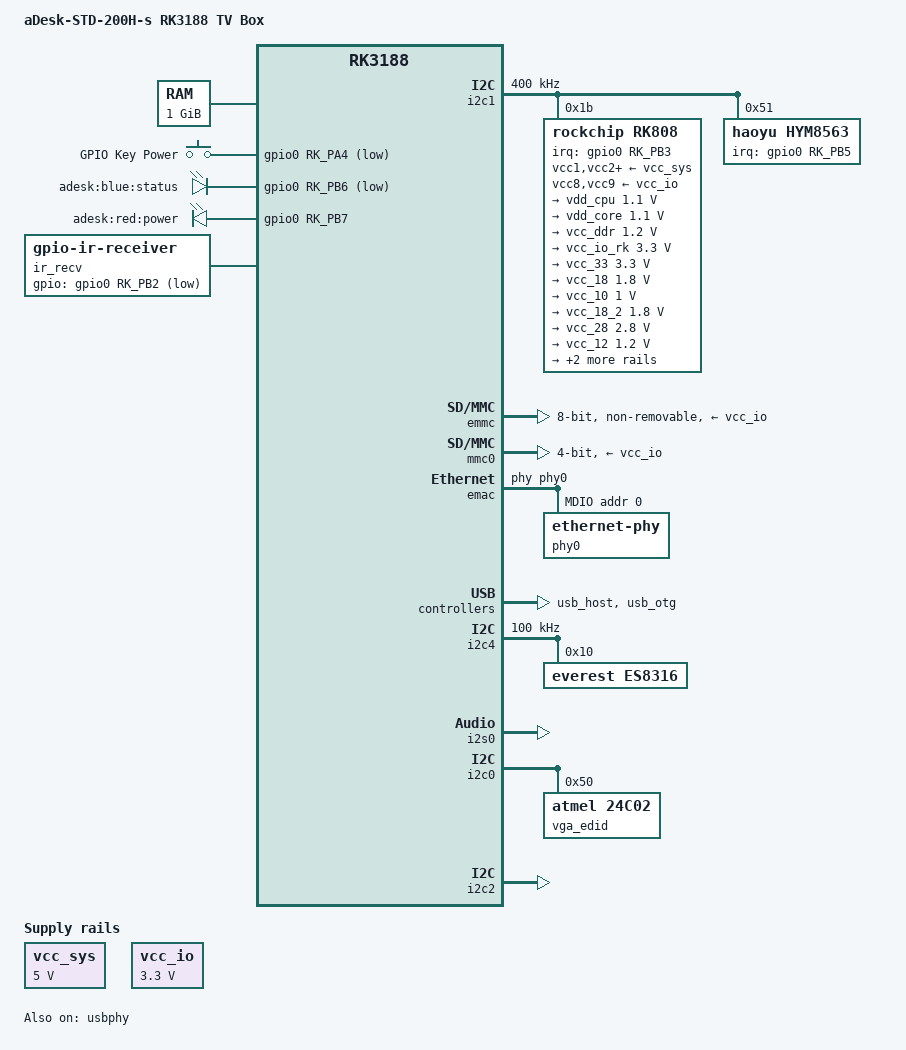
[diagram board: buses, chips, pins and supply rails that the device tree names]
// SPDX-License-Identifier: (GPL-2.0+ OR MIT)
/dts-v1/;

#include <dt-bindings/gpio/gpio.h>
#include <dt-bindings/input/input.h>
#include <dt-bindings/interrupt-controller/irq.h>
#include <dt-bindings/pinctrl/rockchip.h>
#include "rk3188.dtsi"

/ {
	model = "aDesk-STD-200H-s RK3188 TV Box";
	compatible = "rockchip,rk3188";

	aliases {
		serial0 = &uart0;
		mmc0 = &mmc0;   /* SD 卡控制器 */
		mmc1 = &emmc;   /* eMMC 控制器 */
	};

	chosen {
		stdout-path = "serial0:115200n8";
		bootargs = "console=ttyS0,115200 earlyprintk loglevel=8";
	};

	memory@60000000 {
		device_type = "memory";
		reg = <0x60000000 0x40000000>; /* 1GB DDR3 */
	};

	reserved-memory {
		#address-cells = <1>;
		#size-cells = <1>;
		ranges;
		ion1: ion@88400000 { reg = <0x88400000 0x06400000>; no-map; };
		ion2: ion@7ee00000 { reg = <0x7ee00000 0x09600000>; no-map; };
		fb: framebuffer@7a600000 { reg = <0x7a600000 0x04800000>; no-map; };
	};

	vcc_sys: vsys-regulator {
		compatible = "regulator-fixed";
		regulator-name = "vsys";
		regulator-min-microvolt = <5000000>;
		regulator-max-microvolt = <5000000>;
		regulator-boot-on;
	};

	vcc_io: vcc-io-regulator {
		compatible = "regulator-fixed";
		regulator-name = "vcc_io";
		regulator-min-microvolt = <3300000>;
		regulator-max-microvolt = <3300000>;
		regulator-always-on;
	};

	gpio-keys {
		compatible = "gpio-keys";
		autorepeat;
		key-power {
			gpios = <&gpio0 RK_PA4 GPIO_ACTIVE_LOW>;
			linux,code = <KEY_POWER>;
			label = "GPIO Key Power";
			linux,input-type = <1>;
			wakeup-source;
			debounce-interval = <100>;
		};
	};

	gpio-leds {
		compatible = "gpio-leds";
		led-blue {
			label = "adesk:blue:status";
			gpios = <&gpio0 RK_PB6 GPIO_ACTIVE_LOW>;
			default-state = "off";
		};
		led-red {
			label = "adesk:red:power";
			gpios = <&gpio0 RK_PB7 GPIO_ACTIVE_HIGH>;
			default-state = "off";
		};
	};

	ir_recv: ir-receiver {
		compatible = "gpio-ir-receiver";
		gpios = <&gpio0 RK_PB2 GPIO_ACTIVE_LOW>;
		pinctrl-names = "default";
		pinctrl-0 = <&ir_recv_pin>;
	};

	sound {
		compatible = "simple-audio-card";
		simple-audio-card,name = "RK_ES8316";
		simple-audio-card,format = "i2s";
		simple-audio-card,mclk-fs = <256>;
		simple-audio-card,cpu { sound-dai = <&i2s0>; };
		simple-audio-card,codec { sound-dai = <&es8316>; };
	};
};

&cpu0 { cpu-supply = <&vdd_cpu>; };
&cpu1 { cpu-supply = <&vdd_cpu>; };
&cpu2 { cpu-supply = <&vdd_cpu>; };
&cpu3 { cpu-supply = <&vdd_cpu>; };

&i2c1 {
	status = "okay";
	clock-frequency = <400000>;

	rk808: pmic@1b {
		compatible = "rockchip,rk808";
		reg = <0x1b>;
		interrupt-parent = <&gpio0>;
		interrupts = <RK_PB3 IRQ_TYPE_LEVEL_LOW>;
		pinctrl-names = "default";
		pinctrl-0 = <&pmic_int>;
		rockchip,system-power-controller;
		wakeup-source;
		#clock-cells = <1>;
		clock-output-names = "rk808-clkout1", "rk808-clkout2";

		vcc1-supply = <&vcc_sys>;
		vcc2-supply = <&vcc_sys>;
		vcc3-supply = <&vcc_sys>;
		vcc4-supply = <&vcc_sys>;
		vcc6-supply = <&vcc_sys>;
		vcc7-supply = <&vcc_sys>;
		vcc8-supply = <&vcc_io>;
		vcc9-supply = <&vcc_io>;

		regulators {
			vdd_cpu: DCDC_REG1 { regulator-always-on; regulator-boot-on; regulator-min-microvolt = <1100000>; regulator-max-microvolt = <1100000>; regulator-name = "vdd_arm"; };
			vdd_core: DCDC_REG2 { regulator-always-on; regulator-boot-on; regulator-min-microvolt = <1100000>; regulator-max-microvolt = <1100000>; regulator-name = "vdd_core"; };
			vcc_ddr: DCDC_REG3 { regulator-always-on; regulator-boot-on; regulator-min-microvolt = <1200000>; regulator-max-microvolt = <1200000>; regulator-name = "vcc_ddr"; };
			vcc_io_rk: DCDC_REG4 { regulator-always-on; regulator-boot-on; regulator-min-microvolt = <3300000>; regulator-max-microvolt = <3300000>; regulator-name = "vcc_io"; };
			vcc_33: LDO_REG1 { regulator-always-on; regulator-boot-on; regulator-min-microvolt = <3300000>; regulator-max-microvolt = <3300000>; regulator-name = "vcc_33"; };
			vcc_18: LDO_REG2 { regulator-always-on; regulator-boot-on; regulator-min-microvolt = <1800000>; regulator-max-microvolt = <1800000>; regulator-name = "vcc_18"; };
			vcc_10: LDO_REG3 { regulator-always-on; regulator-boot-on; regulator-min-microvolt = <1000000>; regulator-max-microvolt = <1000000>; regulator-name = "vcc_10"; };
			vcc_18_2: LDO_REG4 { regulator-always-on; regulator-boot-on; regulator-min-microvolt = <1800000>; regulator-max-microvolt = <1800000>; regulator-name = "vcc_18_2"; };
			vcc_28: LDO_REG5 { regulator-always-on; regulator-boot-on; regulator-min-microvolt = <2800000>; regulator-max-microvolt = <2800000>; regulator-name = "vcc_28"; };
			vcc_12: LDO_REG6 { regulator-always-on; regulator-boot-on; regulator-min-microvolt = <1200000>; regulator-max-microvolt = <1200000>; regulator-name = "vcc_12"; };
			vcc_18_3: LDO_REG7 { regulator-always-on; regulator-boot-on; regulator-min-microvolt = <1800000>; regulator-max-microvolt = <1800000>; regulator-name = "vcc_18_3"; };
			vcc_33_2: LDO_REG8 { regulator-always-on; regulator-boot-on; regulator-min-microvolt = <3300000>; regulator-max-microvolt = <3300000>; regulator-name = "vcc_33_2"; };
		};
	};

	hym8563: rtc@51 {
		compatible = "haoyu,hym8563";
		reg = <0x51>;
		interrupt-parent = <&gpio0>;
		interrupts = <RK_PB5 IRQ_TYPE_EDGE_FALLING>;
		pinctrl-names = "default";
		pinctrl-0 = <&rtc_int>;
		#clock-cells = <0>;
		clock-output-names = "xin32k";
		wakeup-source;
	};
};

/* eMMC 控制器 */
&emmc {
	bus-width = <8>;
	cap-mmc-highspeed;
	non-removable;
	pinctrl-names = "default";
	pinctrl-0 = <&emmc_clk>, <&emmc_cmd>, <&emmc_rst>;
	vmmc-supply = <&vcc_io>;
	status = "okay";
};

/* SD 卡槽控制器 (已由 &sdmmc 修正为 &mmc0) */
&mmc0 {
	bus-width = <4>;
	cap-mmc-highspeed;
	cap-sd-highspeed;
	disable-wp;
	pinctrl-names = "default";
	pinctrl-0 = <&sd0_clk>, <&sd0_cmd>, <&sd0_cd>, <&sd0_bus4>;
	vmmc-supply = <&vcc_io>;
	status = "okay";
};

&emac {
	phy-handle = <&phy0>;
	pinctrl-names = "default";
	pinctrl-0 = <&emac_xfer>, <&emac_mdio>;
	status = "okay";

	mdio {
		#address-cells = <1>;
		#size-cells = <0>;
		phy0: ethernet-phy@0 { reg = <0>; };
	};
};

&usbphy { status = "okay"; };
&usb_host { status = "okay"; };
&usb_otg { status = "okay"; };

&i2c4 {
	status = "okay";
	clock-frequency = <100000>;
	es8316: codec@10 {
		compatible = "everest,es8316";
		reg = <0x10>;
		clocks = <&cru SCLK_I2S0>;
		clock-names = "mclk";
		#sound-dai-cells = <0>;
	};
};

&i2s0 { status = "okay"; };

&i2c0 {
	status = "okay";
	vga_edid: eeprom@50 { compatible = "atmel,24c02"; reg = <0x50>; pagesize = <16>; };
};

&i2c2 {
	status = "okay";
	hdmi_tx: hdmi@2b { compatible = "vendor,ms7210"; reg = <0x2b>; status = "disabled"; };
	it66121: hdmi-tx@4c { compatible = "ite,it66121"; reg = <0x4c>; status = "disabled"; };
};

&i2c3 { status = "disabled"; };
&vop0 { status = "disabled"; };
&vop1 { status = "disabled"; };

&pinctrl {
	pmic { pmic_int: pmic-int { rockchip,pins = <0 RK_PB3 RK_FUNC_GPIO &pcfg_pull_up>; }; };
	hym8563 { rtc_int: rtc-int { rockchip,pins = <0 RK_PB5 RK_FUNC_GPIO &pcfg_pull_up>; }; };
	ir-receiver { ir_recv_pin: ir-recv-pin { rockchip,pins = <0 RK_PB2 RK_FUNC_GPIO &pcfg_pull_none>; }; };
};
